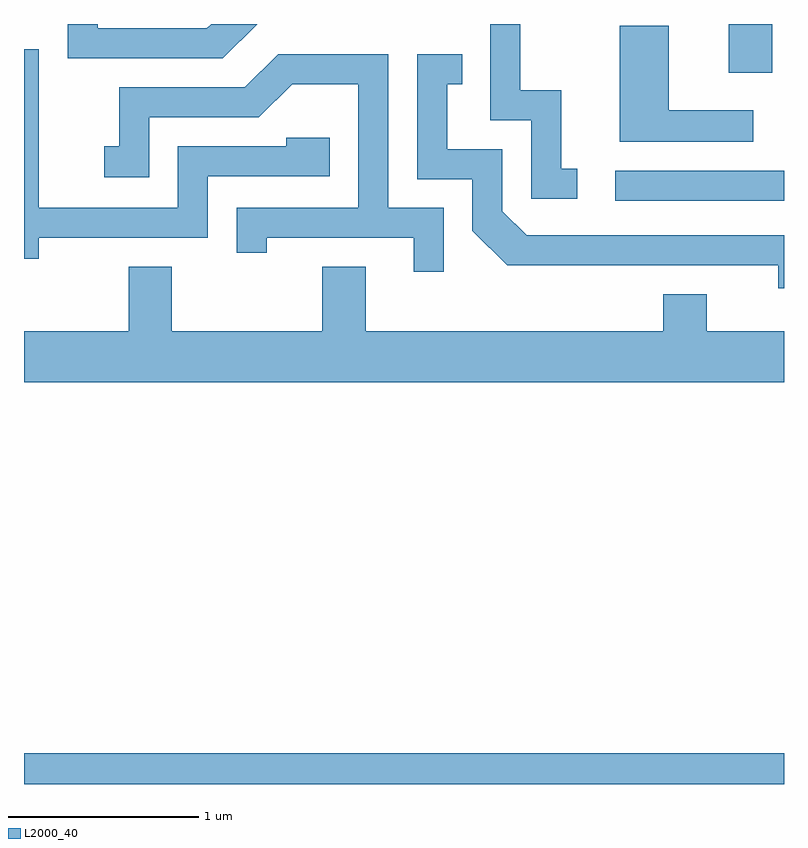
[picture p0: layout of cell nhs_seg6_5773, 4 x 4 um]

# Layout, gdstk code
import gdstk
lib = gdstk.Library(unit=1e-6, precision=1e-09)
def R(c, l, rs):  # rectangles x0, y0, x1, y1
    for r in rs: c.add(gdstk.rectangle(r[:2], r[2:], *l))
def P(c, l, *ps):  # polygons
    for p in ps: c.add(gdstk.Polygon(p, *l))
L2000_40 = (2000, 40)

nhs_seg6_5773 = lib.new_cell('nhs_seg6_5773')
R(nhs_seg6_5773, L2000_40, [(361.611,1530.162,365.611,1530.324), (364.723,1533.231,365.611,1533.389), (365.321,1533.906,365.549,1534.162)])
P(nhs_seg6_5773, L2000_40, [(362.838,1534.162),(362.597,1534.162),(362.574,1534.139),(361.999,1534.139),(361.999,1534.162),(361.841,1534.162),(361.841,1533.981),(362.657,1533.981)],
  [(364.523,1533.399),(364.439,1533.399),(364.439,1533.814),(364.224,1533.814),(364.224,1534.162),(364.066,1534.162),(364.066,1533.656),(364.281,1533.656),(364.281,1533.241),(364.523,1533.241)],
  [(365.448,1533.709),(365.004,1533.709),(365.004,1534.154),(364.746,1534.154),(364.746,1533.541),(365.448,1533.541)],
  [(361.689,1533.036),(362.579,1533.036),(362.579,1533.361),(363.219,1533.361),(363.219,1533.564),(362.991,1533.564),(362.991,1533.519),(362.421,1533.519),(362.421,1533.194),(361.689,1533.194),(361.689,1534.029),(361.611,1534.029),(361.611,1532.926),(361.689,1532.926)],
  [(365.611,1533.049),(364.257,1533.049),(364.129,1533.177),(364.129,1533.504),(363.839,1533.504),(363.839,1533.846),(363.918,1533.846),(363.918,1534.004),(363.681,1534.004),(363.681,1533.346),(363.971,1533.346),(363.971,1533.074),(364.154,1532.891),(365.581,1532.891),(365.581,1532.771),(365.611,1532.771)],
  [(363.819,1533.194),(363.529,1533.194),(363.529,1534.004),(362.949,1534.004),(362.774,1533.829),(362.111,1533.829),(362.111,1533.519),(362.033,1533.519),(362.033,1533.356),(362.269,1533.356),(362.269,1533.671),(362.847,1533.671),(363.022,1533.846),(363.371,1533.846),(363.371,1533.194),(362.731,1533.194),(362.731,1532.958),(362.889,1532.958),(362.889,1533.036),(363.661,1533.036),(363.661,1532.858),(363.819,1532.858)],
  [(365.611,1532.544),(365.204,1532.544),(365.204,1532.739),(364.976,1532.739),(364.976,1532.544),(363.409,1532.544),(363.409,1532.884),(363.181,1532.884),(363.181,1532.544),(362.389,1532.544),(362.389,1532.884),(362.161,1532.884),(362.161,1532.544),(361.611,1532.544),(361.611,1532.276),(365.611,1532.276)])

lib.write_gds('nhs_seg6_5773.gds')
